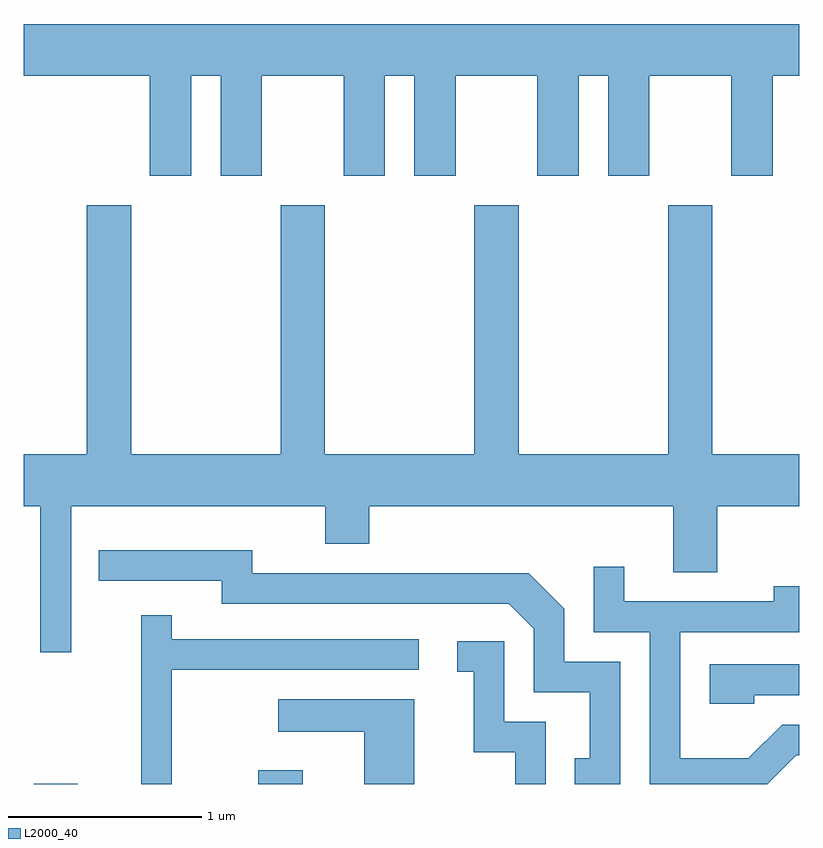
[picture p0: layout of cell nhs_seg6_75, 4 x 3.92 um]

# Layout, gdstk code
import gdstk
lib = gdstk.Library(unit=1e-6, precision=1e-09)
def R(c, l, rs):  # rectangles x0, y0, x1, y1
    for r in rs: c.add(gdstk.rectangle(r[:2], r[2:], *l))
def P(c, l, *ps):  # polygons
    for p in ps: c.add(gdstk.Polygon(p, *l))
L2000_40 = (2000, 40)

nhs_seg6_75 = lib.new_cell('nhs_seg6_75')
R(nhs_seg6_75, L2000_40, [(187.661,1544.162,187.889,1544.164), (188.821,1544.162,189.049,1544.234)])
P(nhs_seg6_75, L2000_40, [(188.474,1547.816),(188.626,1547.816),(188.626,1547.301),(188.839,1547.301),(188.839,1547.816),(189.261,1547.816),(189.261,1547.301),(189.474,1547.301),(189.474,1547.816),(189.626,1547.816),(189.626,1547.301),(189.839,1547.301),(189.839,1547.816),(190.261,1547.816),(190.261,1547.301),(190.474,1547.301),(190.474,1547.816),(190.626,1547.816),(190.626,1547.301),(190.839,1547.301),(190.839,1547.816),(191.261,1547.816),(191.261,1547.301),(191.474,1547.301),(191.474,1547.816),(191.611,1547.816),(191.611,1548.084),(187.611,1548.084),(187.611,1547.816),(188.261,1547.816),(188.261,1547.301),(188.474,1547.301)],
  [(187.854,1545.596),(189.166,1545.596),(189.166,1545.401),(189.394,1545.401),(189.394,1545.596),(190.961,1545.596),(190.961,1545.256),(191.189,1545.256),(191.189,1545.596),(191.611,1545.596),(191.611,1545.864),(191.164,1545.864),(191.164,1547.149),(190.936,1547.149),(190.936,1545.864),(190.164,1545.864),(190.164,1547.149),(189.936,1547.149),(189.936,1545.864),(189.164,1545.864),(189.164,1547.149),(188.936,1547.149),(188.936,1545.864),(188.164,1545.864),(188.164,1547.149),(187.936,1547.149),(187.936,1545.864),(187.611,1545.864),(187.611,1545.596),(187.696,1545.596),(187.696,1544.843),(187.854,1544.843)],
  [(190.689,1544.794),(190.399,1544.794),(190.399,1545.067),(190.217,1545.249),(188.789,1545.249),(188.789,1545.369),(187.998,1545.369),(187.998,1545.211),(188.631,1545.211),(188.631,1545.091),(190.114,1545.091),(190.241,1544.964),(190.241,1544.636),(190.531,1544.636),(190.531,1544.294),(190.453,1544.294),(190.453,1544.162),(190.689,1544.162)],
  [(191.597,1544.311),(191.611,1544.311),(191.611,1544.469),(191.524,1544.469),(191.349,1544.294),(190.999,1544.294),(190.999,1544.946),(191.611,1544.946),(191.611,1545.183),(191.481,1545.183),(191.481,1545.104),(190.709,1545.104),(190.709,1545.283),(190.551,1545.283),(190.551,1544.946),(190.841,1544.946),(190.841,1544.162),(191.448,1544.162)],
  [(188.374,1544.751),(189.648,1544.751),(189.648,1544.909),(188.374,1544.909),(188.374,1545.033),(188.216,1545.033),(188.216,1544.162),(188.374,1544.162)],
  [(190.304,1544.484),(190.089,1544.484),(190.089,1544.899),(189.848,1544.899),(189.848,1544.741),(189.931,1544.741),(189.931,1544.326),(190.146,1544.326),(190.146,1544.162),(190.304,1544.162)],
  [(191.379,1544.621),(191.611,1544.621),(191.611,1544.779),(191.151,1544.779),(191.151,1544.576),(191.379,1544.576)],
  [(189.624,1544.599),(188.923,1544.599),(188.923,1544.431),(189.366,1544.431),(189.366,1544.162),(189.624,1544.162)])

lib.write_gds('nhs_seg6_75.gds')
